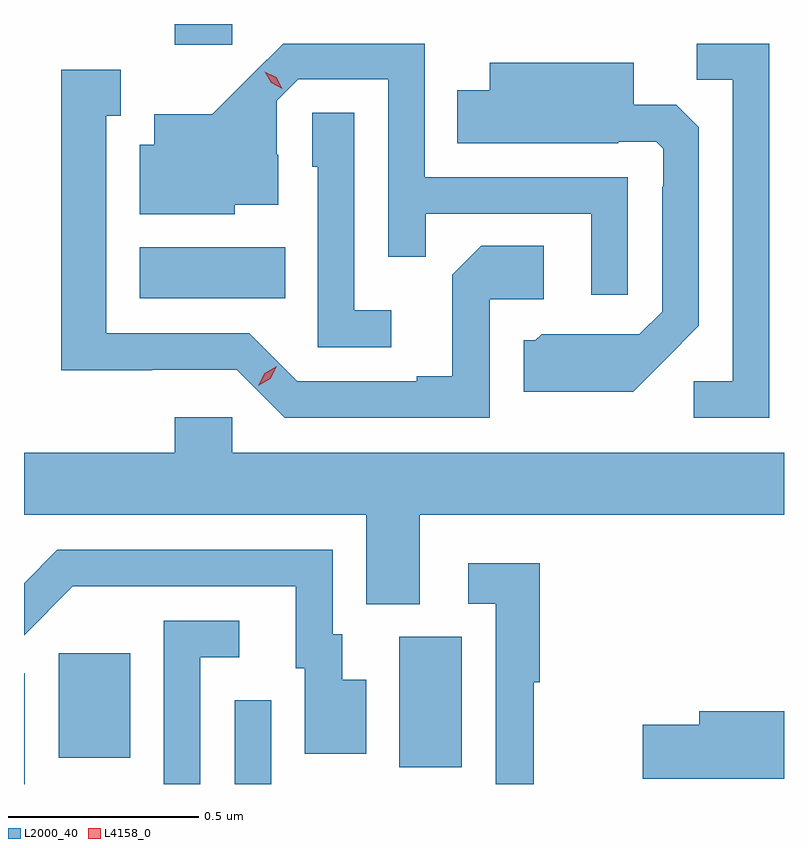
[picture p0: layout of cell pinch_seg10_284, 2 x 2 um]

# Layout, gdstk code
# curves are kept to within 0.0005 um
import gdstk
lib = gdstk.Library(unit=1e-6, precision=1e-09)
def R(c, l, rs):  # rectangles x0, y0, x1, y1
    for r in rs: c.add(gdstk.rectangle(r[:2], r[2:], *l))
def P(c, l, *ps):  # polygons
    for p in ps: c.add(gdstk.Polygon(p, *l))
L2000_40 = (2000, 40)
L4158_0 = (4158, 0)

pinch_seg10_284 = lib.new_cell('pinch_seg10_284')
R(pinch_seg10_284, L2000_40, [(514.912,1311.596,514.914,1311.887), (515.466,1311.596,515.562,1311.817), (515.9,1311.64,516.064,1311.984), (515.003,1311.665,515.191,1311.94), (515.216,1312.874,515.6,1313.008), (515.309,1313.541,515.46,1313.596)])
P(pinch_seg10_284, L2000_40, [(516.501,1313.193),(515.967,1313.193),(515.967,1313.544),(515.594,1313.544),(515.407,1313.359),(515.255,1313.359),(515.255,1313.278),(515.216,1313.278),(515.216,1313.096),(515.466,1313.096),(515.466,1313.12),(515.581,1313.12),(515.581,1313.252),(515.577,1313.252),(515.577,1313.394),(515.634,1313.451),(515.871,1313.451),(515.871,1312.984),(515.969,1312.984),(515.969,1313.097),(516.405,1313.097),(516.405,1312.884),(516.501,1312.884)],
  [(516.873,1313.544),(516.682,1313.544),(516.682,1313.449),(516.777,1313.449),(516.777,1312.656),(516.675,1312.656),(516.675,1312.56),(516.873,1312.56)],
  [(516.595,1312.709),(516.687,1312.802),(516.687,1313.324),(516.628,1313.383),(516.517,1313.383),(516.517,1313.494),(516.137,1313.494),(516.137,1313.422),(516.052,1313.422),(516.052,1313.282),(516.476,1313.282),(516.476,1313.286),(516.576,1313.286),(516.594,1313.268),(516.594,1313.168),(516.591,1313.168),(516.591,1312.839),(516.531,1312.779),(516.408,1312.779),(516.408,1312.78),(516.274,1312.78),(516.258,1312.764),(516.227,1312.764),(516.227,1312.628),(516.515,1312.628)],
  [(516.138,1312.872),(516.28,1312.872),(516.28,1313.012),(516.115,1313.012),(516.039,1312.936),(516.039,1312.669),(515.945,1312.669),(515.945,1312.656),(515.631,1312.656),(515.505,1312.782),(515.128,1312.782),(515.128,1313.355),(515.167,1313.355),(515.167,1313.476),(515.01,1313.476),(515.01,1312.685),(515.25,1312.685),(515.25,1312.686),(515.472,1312.686),(515.598,1312.56),(516.138,1312.56)],
  [(515.878,1312.843),(515.781,1312.843),(515.781,1313.363),(515.67,1313.363),(515.67,1313.22),(515.685,1313.22),(515.685,1312.746),(515.878,1312.746)],
  [(515.953,1312.304),(516.912,1312.304),(516.912,1312.468),(515.46,1312.468),(515.46,1312.561),(515.309,1312.561),(515.309,1312.468),(514.912,1312.468),(514.912,1312.304),(515.813,1312.304),(515.813,1312.069),(515.953,1312.069)],
  [(515.812,1311.871),(515.749,1311.871),(515.749,1311.99),(515.724,1311.99),(515.724,1312.212),(515,1312.212),(514.912,1312.124),(514.912,1311.988),(515.04,1312.116),(515.627,1312.116),(515.627,1311.9),(515.651,1311.9),(515.651,1311.675),(515.812,1311.675)],
  [(516.254,1311.864),(516.269,1311.864),(516.269,1312.177),(516.081,1312.177),(516.081,1312.071),(516.153,1312.071),(516.153,1311.596),(516.254,1311.596)],
  [(515.376,1311.93),(515.479,1311.93),(515.479,1312.026),(515.28,1312.026),(515.28,1311.596),(515.376,1311.596)],
  [(516.912,1311.788),(516.689,1311.788),(516.689,1311.752),(516.54,1311.752),(516.54,1311.61),(516.912,1311.61)])
P(pinch_seg10_284, L4158_0, [(515.592,1313.426),(515.562,1313.441),(515.545,1313.471),(515.545,1313.471),(515.545,1313.471),(515.576,1313.456),(515.592,1313.426),(515.592,1313.426)],
  [(515.529,1312.644),(515.529,1312.644),(515.546,1312.677),(515.577,1312.696),(515.577,1312.696),(515.577,1312.696),(515.56,1312.663),(515.529,1312.644)])

lib.write_gds('pinch_seg10_284.gds')
